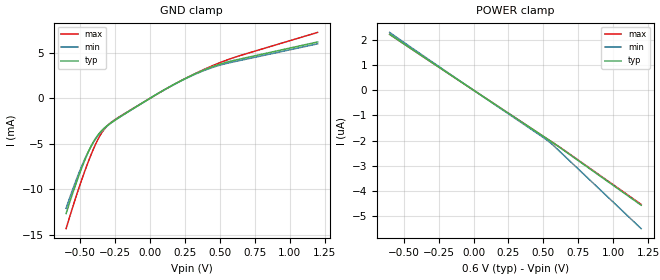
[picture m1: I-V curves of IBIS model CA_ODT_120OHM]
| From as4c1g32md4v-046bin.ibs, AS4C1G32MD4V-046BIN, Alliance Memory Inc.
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|   MODEL: CA_ODT_120OHM
[Model]   CA_ODT_120OHM
Model_type   Input
Vinl   = 0.080V
Vinh   = 0.220V
|   typ   min   max
C_comp   0.525pF   0.473pF   0.578pF
[Voltage Range]   0.600V   0.570V   0.650V
[Temperature Range]   25.0   95.0   -40.0
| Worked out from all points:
|   GND clamp passes 1 mA (typ) near -0.11 V on its own axis
[GND Clamp]
|   Voltage   I(typ)   I(min)   I(max)
-600mV    -12.65mA   -12.08mA   -14.32mA
-510mV    -8.55mA    -8.271mA   -9.93mA
-470mV    -6.942mA   -6.8mA     -8.154mA
-430mV    -5.541mA   -5.521mA   -6.518mA
-390mV    -4.425mA   -4.478mA   -5.072mA
-350mV    -3.62mA    -3.685mA   -3.909mA
-320mV    -3.178mA   -3.225mA   -3.269mA
-280mV    -2.707mA   -2.727mA   -2.676mA
120mV     1.09mA     1.077mA    1.077mA
400mV     3.195mA    3.128mA    3.264mA
580mV     4.091mA    3.944mA    4.369mA
1.2V      6.192mA    5.987mA    7.243mA
[POWER Clamp]
|   Voltage   I(typ)   I(min)   I(max)
-600mV    2.209uA    2.286uA    2.21uA
540mV     -1.977uA   -2.04uA    -1.975uA
650mV     -2.398uA   -2.599uA   -2.382uA
1.2V      -4.555uA   -5.484uA   -4.524uA
